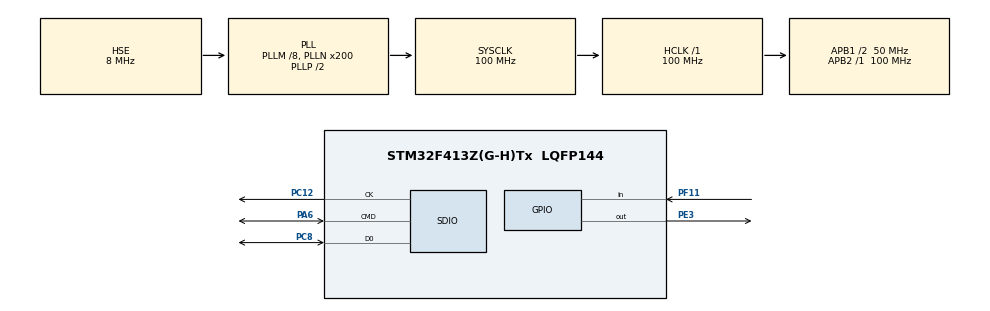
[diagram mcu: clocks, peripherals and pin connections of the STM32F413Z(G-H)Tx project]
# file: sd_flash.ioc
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Dma.Request0=SDIO_RX
Dma.Request1=SDIO_TX
Dma.SDIO_RX.0.Direction=DMA_PERIPH_TO_MEMORY
Dma.SDIO_RX.0.FIFOMode=DMA_FIFOMODE_ENABLE
Dma.SDIO_RX.0.FIFOThreshold=DMA_FIFO_THRESHOLD_FULL
Dma.SDIO_RX.0.Instance=DMA2_Stream3
Dma.SDIO_RX.0.MemBurst=DMA_MBURST_INC4
Dma.SDIO_RX.0.MemDataAlignment=DMA_MDATAALIGN_WORD
Dma.SDIO_RX.0.MemInc=DMA_MINC_ENABLE
Dma.SDIO_RX.0.Mode=DMA_PFCTRL
Dma.SDIO_RX.0.PeriphBurst=DMA_PBURST_INC4
Dma.SDIO_RX.0.PeriphDataAlignment=DMA_PDATAALIGN_WORD
Dma.SDIO_RX.0.PeriphInc=DMA_PINC_DISABLE
Dma.SDIO_RX.0.Priority=DMA_PRIORITY_LOW
Dma.SDIO_TX.1.Direction=DMA_MEMORY_TO_PERIPH
Dma.SDIO_TX.1.FIFOMode=DMA_FIFOMODE_ENABLE
Dma.SDIO_TX.1.FIFOThreshold=DMA_FIFO_THRESHOLD_FULL
Dma.SDIO_TX.1.Instance=DMA2_Stream6
Dma.SDIO_TX.1.MemBurst=DMA_MBURST_INC4
Dma.SDIO_TX.1.MemDataAlignment=DMA_MDATAALIGN_WORD
Dma.SDIO_TX.1.MemInc=DMA_MINC_ENABLE
Dma.SDIO_TX.1.Mode=DMA_PFCTRL
Dma.SDIO_TX.1.PeriphBurst=DMA_PBURST_INC4
Dma.SDIO_TX.1.PeriphDataAlignment=DMA_PDATAALIGN_WORD
Dma.SDIO_TX.1.PeriphInc=DMA_PINC_DISABLE
Dma.SDIO_TX.1.Priority=DMA_PRIORITY_LOW
FATFS.BSP.number=1
FATFS.USE_DMA_CODE_SD=1
FATFS0.BSP.STBoard=false
FATFS0.BSP.api=Unknown
FATFS0.BSP.instance=PF11
FATFS0.BSP.ip=GPIO
FATFS0.BSP.mode=Input
FATFS0.BSP.name=Detect_SDIO
FATFS0.BSP.solution=PF11
Mcu.Family=STM32F4
Mcu.Name=STM32F413Z(G-H)Tx
Mcu.Package=LQFP144
NVIC.DMA2_Stream3_IRQn=true\:0\:0\:false\:false\:true\:false\:true\:true
NVIC.DMA2_Stream6_IRQn=true\:0\:0\:false\:false\:true\:false\:true\:true
NVIC.PriorityGroup=NVIC_PRIORITYGROUP_4
NVIC.SDIO_IRQn=true\:0\:0\:false\:false\:true\:true\:true\:true
PA6.Mode=SD_1_bit
PA6.Signal=SDIO_CMD
PC12.Mode=SD_1_bit
PC12.Signal=SDIO_CK
PC8.Mode=SD_1_bit
PC8.Signal=SDIO_D0
PE3.Signal=GPIO_Output
PF11.Signal=GPIO_Input
PH0\ -\ OSC_IN.Mode=HSE-External-Clock-Source
PH0\ -\ OSC_IN.Signal=RCC_OSC_IN
PH1\ -\ OSC_OUT.Mode=HSE-External-Clock-Source
PH1\ -\ OSC_OUT.Signal=RCC_OSC_OUT
ProjectManager.HeapSize=0x400
ProjectManager.StackSize=0x800
ProjectManager.TargetToolchain=MDK-ARM V5.32
RCC.AHBFreq_Value=100000000
RCC.APB1CLKDivider=RCC_HCLK_DIV2
RCC.APB1Freq_Value=50000000
RCC.APB1TimFreq_Value=100000000
RCC.APB2Freq_Value=100000000
RCC.APB2TimFreq_Value=100000000
RCC.CortexFreq_Value=100000000
RCC.HCLKFreq_Value=100000000
RCC.HSE_VALUE=8000000
RCC.PLLM=8
RCC.PLLN=200
RCC.PLLQ=4
RCC.PLLSourceVirtual=RCC_PLLSOURCE_HSE
RCC.SYSCLKFreq_VALUE=100000000
RCC.SYSCLKSource=RCC_SYSCLKSOURCE_PLLCLK
RCC.USBFreq_Value=50000000
RCC.VCOOutputFreq_Value=200000000
VP_FATFS_VS_SDIO.Mode=SDIO
board=custom

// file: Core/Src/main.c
/* USER CODE BEGIN Header */
/**
  ******************************************************************************
  * @file           : main.c
  * @brief          : Main program body
  ******************************************************************************
  * @attention
  *
  * Copyright (c) 2023 STMicroelectronics.
  * All rights reserved.
  *
  * This software is licensed under terms that can be found in the LICENSE file
  * in the root directory of this software component.
  * If no LICENSE file comes with this software, it is provided AS-IS.
  *
  ******************************************************************************
  */
/* USER CODE END Header */
#include "main.h"
#include "fatfs.h"

/* USER CODE BEGIN PD */
#define FLASH_READ_FRAGMENT_SIZE 100
/* USER CODE END PD */

SD_HandleTypeDef hsd;
DMA_HandleTypeDef hdma_sdio_rx;
DMA_HandleTypeDef hdma_sdio_tx;

void SystemClock_Config(void);
static void MX_GPIO_Init(void);
static void MX_DMA_Init(void);
static void MX_SDIO_SD_Init(void);

/* USER CODE BEGIN 0 */
typedef  void (*pFunction)(void);
pFunction JumpToApplication;
uint32_t JumpAddress;

void startApplication(void)
{
	/* Test if user code is programmed starting from address "APPLICATION_ADDRESS" */
	if (((*(volatile uint32_t *)APPLICATION_ADDRESS) & 0x2FFA0000) == 0x20000000)
	{
        clock_DeInit();
        JumpAddress = *(__IO uint32_t*)(APPLICATION_ADDRESS+4);
        JumpToApplication = (pFunction) JumpAddress;
        __asm volatile ("MSR msp, %0" : : "r" (APPLICATION_ADDRESS) : );
        JumpToApplication();
        while(1);
	}
}

/* USER CODE END 0 */

int main(void)
{

  /* MCU Configuration--------------------------------------------------------*/

  /* Reset of all peripherals, Initializes the Flash interface and the Systick. */
  HAL_Init();

  /* USER CODE BEGIN Init */
  FRESULT res; /* FatFs function common result code */
  uint32_t byteswritten, bytesread; /* File write/read counts */
  uint8_t wtext[] = "STM32 FATFS works great!"; /* File write buffer */
  uint8_t rtext[_MAX_SS];/* File read buffer */

  /* USER CODE END Init */

  /* Configure the system clock */
  SystemClock_Config();

  /* Initialize all configured peripherals */
  MX_GPIO_Init();
  MX_DMA_Init();
  MX_SDIO_SD_Init();
  MX_FATFS_Init();
  flash_Init();
  HAL_FLASH_Unlock();

  __HAL_FLASH_CLEAR_FLAG(FLASH_FLAG_EOP | FLASH_FLAG_OPERR | FLASH_FLAG_WRPERR |
                           FLASH_FLAG_PGAERR | FLASH_FLAG_PGPERR | FLASH_FLAG_PGSERR);

  FLASH_EraseInitTypeDef EraseInit;
  uint32_t SectorError;
  EraseInit.TypeErase = FLASH_TYPEERASE_SECTORS;
  EraseInit.VoltageRange = FLASH_VOLTAGE_RANGE_3;
  EraseInit.Sector = FLASH_SECTOR_5;
  EraseInit.NbSectors = 1;
  if (HAL_FLASHEx_Erase(&EraseInit, &SectorError) == HAL_OK)
  {
      HAL_FLASH_Program(FLASH_TYPEPROGRAM_WORD, 0x08020000, 0x11223344);
  }

  HAL_FLASH_Lock();

    if(f_mount(&SDFatFS, (TCHAR const*)SDPath, 0) != FR_OK)
    {
        Error_Handler();
    }
    else
    {
        // Open file for writing (Create)
        if(f_open(&SDFile, "STM32.TXT", FA_CREATE_ALWAYS | FA_WRITE) != FR_OK)
        {
            Error_Handler();
        }
        else
        {
            //Write to the text file
            res = f_write(&SDFile, wtext, strlen((char *)wtext), (void *)&byteswritten);
            if((byteswritten == 0) || (res != FR_OK))
            {
                Error_Handler();
            }
            else
            {
                f_close(&SDFile);
            }
        }
        FIL fd;
        if(f_open(&fd, "blink.bin", FA_READ) == FR_OK)
        {
            uint32_t l;
            uint8_t buf[FLASH_READ_FRAGMENT_SIZE];
            uint32_t frag = 0;

            flash_EraseApplication(0x1FFFF);

            do
            {
                f_read(&fd, &buf[0], FLASH_READ_FRAGMENT_SIZE, &l);
                flash_WriteApplication(&buf[0], l, &frag);
            } while(l>=FLASH_READ_FRAGMENT_SIZE);
        }

    }
    f_mount(&SDFatFS, (TCHAR const*)NULL, 0);

  /* Infinite loop */
  /* USER CODE BEGIN WHILE */
  uint32_t cnt = 0;
  while (1)
  {
    /* USER CODE END WHILE */
    /* USER CODE BEGIN 3 */
      HAL_GPIO_WritePin(GPIOE, GPIO_PIN_3, GPIO_PIN_SET);
      HAL_Delay(100);
      HAL_GPIO_WritePin(GPIOE, GPIO_PIN_3, GPIO_PIN_RESET);
      HAL_Delay(100);
      cnt++;

      if(cnt >= 20)
      {
          startApplication();
      }
  }
  /* USER CODE END 3 */
}

void SystemClock_Config(void)
{
  RCC_OscInitTypeDef RCC_OscInitStruct = {0};
  RCC_ClkInitTypeDef RCC_ClkInitStruct = {0};

  /** Configure the main internal regulator output voltage
  */
  __HAL_RCC_PWR_CLK_ENABLE();
  __HAL_PWR_VOLTAGESCALING_CONFIG(PWR_REGULATOR_VOLTAGE_SCALE1);

  /** Initializes the RCC Oscillators according to the specified parameters
  * in the RCC_OscInitTypeDef structure.
  */
  RCC_OscInitStruct.OscillatorType = RCC_OSCILLATORTYPE_HSE;
  RCC_OscInitStruct.HSEState = RCC_HSE_BYPASS;
  RCC_OscInitStruct.PLL.PLLState = RCC_PLL_ON;
  RCC_OscInitStruct.PLL.PLLSource = RCC_PLLSOURCE_HSE;
  RCC_OscInitStruct.PLL.PLLM = 8;
  RCC_OscInitStruct.PLL.PLLN = 200;
  RCC_OscInitStruct.PLL.PLLP = RCC_PLLP_DIV2;
  RCC_OscInitStruct.PLL.PLLQ = 4;
  RCC_OscInitStruct.PLL.PLLR = 2;
  if (HAL_RCC_OscConfig(&RCC_OscInitStruct) != HAL_OK)
  {
    Error_Handler();
  }

  /** Initializes the CPU, AHB and APB buses clocks
  */
  RCC_ClkInitStruct.ClockType = RCC_CLOCKTYPE_HCLK|RCC_CLOCKTYPE_SYSCLK
                              |RCC_CLOCKTYPE_PCLK1|RCC_CLOCKTYPE_PCLK2;
  RCC_ClkInitStruct.SYSCLKSource = RCC_SYSCLKSOURCE_PLLCLK;
  RCC_ClkInitStruct.AHBCLKDivider = RCC_SYSCLK_DIV1;
  RCC_ClkInitStruct.APB1CLKDivider = RCC_HCLK_DIV2;
  RCC_ClkInitStruct.APB2CLKDivider = RCC_HCLK_DIV1;

  if (HAL_RCC_ClockConfig(&RCC_ClkInitStruct, FLASH_LATENCY_3) != HAL_OK)
  {
    Error_Handler();
  }
}

static void MX_SDIO_SD_Init(void)
{

  hsd.Instance = SDIO;
  hsd.Init.ClockEdge = SDIO_CLOCK_EDGE_RISING;
  hsd.Init.ClockBypass = SDIO_CLOCK_BYPASS_DISABLE;
  hsd.Init.ClockPowerSave = SDIO_CLOCK_POWER_SAVE_DISABLE;
  hsd.Init.BusWide = SDIO_BUS_WIDE_1B;
  hsd.Init.HardwareFlowControl = SDIO_HARDWARE_FLOW_CONTROL_DISABLE;
  hsd.Init.ClockDiv = 0;

}

static void MX_DMA_Init(void)
{

  /* DMA controller clock enable */
  __HAL_RCC_DMA2_CLK_ENABLE();

  /* DMA interrupt init */
  /* DMA2_Stream3_IRQn interrupt configuration */
  HAL_NVIC_SetPriority(DMA2_Stream3_IRQn, 0, 0);
  HAL_NVIC_EnableIRQ(DMA2_Stream3_IRQn);
  /* DMA2_Stream6_IRQn interrupt configuration */
  HAL_NVIC_SetPriority(DMA2_Stream6_IRQn, 0, 0);
  HAL_NVIC_EnableIRQ(DMA2_Stream6_IRQn);

}

static void MX_GPIO_Init(void)
{
  GPIO_InitTypeDef GPIO_InitStruct = {0};

  /* GPIO Ports Clock Enable */
  __HAL_RCC_GPIOE_CLK_ENABLE();
  __HAL_RCC_GPIOH_CLK_ENABLE();
  __HAL_RCC_GPIOA_CLK_ENABLE();
  __HAL_RCC_GPIOF_CLK_ENABLE();
  __HAL_RCC_GPIOC_CLK_ENABLE();

  /*Configure GPIO pin Output Level */
  HAL_GPIO_WritePin(GPIOE, GPIO_PIN_3, GPIO_PIN_RESET);

  /*Configure GPIO pin : PE3 */
  GPIO_InitStruct.Pin = GPIO_PIN_3;
  GPIO_InitStruct.Mode = GPIO_MODE_OUTPUT_PP;
  GPIO_InitStruct.Pull = GPIO_NOPULL;
  GPIO_InitStruct.Speed = GPIO_SPEED_FREQ_LOW;
  HAL_GPIO_Init(GPIOE, &GPIO_InitStruct);

  /*Configure GPIO pin : PF11 */
  GPIO_InitStruct.Pin = GPIO_PIN_11;
  GPIO_InitStruct.Mode = GPIO_MODE_INPUT;
  GPIO_InitStruct.Pull = GPIO_NOPULL;
  HAL_GPIO_Init(GPIOF, &GPIO_InitStruct);

}

void Error_Handler(void)
{
  __disable_irq();
  while (1)
  {
  }
}
